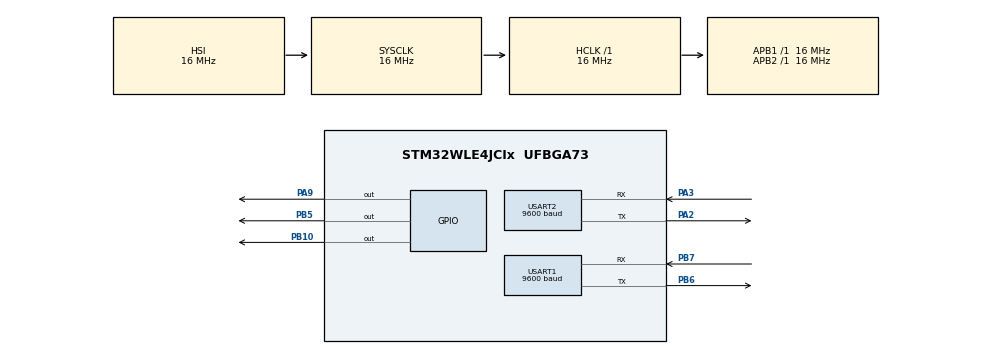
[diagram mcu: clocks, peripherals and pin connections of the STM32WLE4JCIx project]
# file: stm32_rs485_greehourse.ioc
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Mcu.Family=STM32WL
Mcu.Name=STM32WLE4JCIx
Mcu.Package=UFBGA73
NVIC.PriorityGroup=NVIC_PRIORITYGROUP_4
NVIC.USART1_IRQn=true\:0\:0\:false\:false\:true\:true\:true\:true
NVIC.USART2_IRQn=true\:0\:0\:false\:false\:true\:true\:true\:true
PA13.Mode=Serial_Wire
PA13.Signal=DEBUG_JTMS-SWDIO
PA14.Mode=Serial_Wire
PA14.Signal=DEBUG_JTCK-SWCLK
PA2.Mode=Asynchronous
PA2.Signal=USART2_TX
PA3.Mode=Asynchronous
PA3.Signal=USART2_RX
PA9.PinState=GPIO_PIN_SET
PA9.Signal=GPIO_Output
PB10.PinState=GPIO_PIN_SET
PB10.Signal=GPIO_Output
PB5.Signal=GPIO_Output
PB6.Mode=Asynchronous
PB6.Signal=USART1_TX
PB7.Mode=Asynchronous
PB7.Signal=USART1_RX
ProjectManager.HeapSize=0x200
ProjectManager.StackSize=0x400
ProjectManager.TargetToolchain=STM32CubeIDE
RCC.AHBFreq_Value=16000000
RCC.APB1Freq_Value=16000000
RCC.APB1TimFreq_Value=16000000
RCC.APB2Freq_Value=16000000
RCC.APB2TimFreq_Value=16000000
RCC.APB3Freq_Value=16000000
RCC.CortexFreq_Value=16000000
RCC.HCLKFreq_Value=16000000
RCC.HSE_VALUE=8000000
RCC.HSI_VALUE=16000000
RCC.LSE_VALUE=32768
RCC.PLLSourceVirtual=RCC_PLLSOURCE_HSI
RCC.SYSCLKFreq_VALUE=16000000
RCC.SYSCLKSource=RCC_SYSCLKSOURCE_HSI
RCC.VCOOutputFreq_Value=128000000
USART1.BaudRate=9600
USART1.VirtualMode-Asynchronous=VM_ASYNC
USART2.BaudRate=9600
USART2.VirtualMode-Asynchronous=VM_ASYNC
board=custom

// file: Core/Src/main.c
/* USER CODE BEGIN Header */
/**
  ******************************************************************************
  * @file           : main.c
  * @brief          : Main program body
  ******************************************************************************
  * @attention
  *
  * Copyright (c) 2025 STMicroelectronics.
  * All rights reserved.
  *
  * This software is licensed under terms that can be found in the LICENSE file
  * in the root directory of this software component.
  * If no LICENSE file comes with this software, it is provided AS-IS.
  *
  ******************************************************************************
  */
/* USER CODE END Header */
#include "main.h"

/* USER CODE BEGIN Includes */
#include <stdio.h>
#include <stdint.h>
/* USER CODE END Includes */

/* USER CODE BEGIN PD */
uint8_t tx_buffer[27] = "Hello, World\n\r";
uint8_t msg[] = "Hello RS485\n\r";
uint8_t rx_buffer[16];
uint8_t modbus_frame[8];
uint8_t UART_RX_AIR_LENGTH = 13;
uint8_t UART_RX_SOIL_LENGTH = 9;
uint8_t UART_RX_LIGHT_LENGTH = 9;
int UART_TIMEOUT = 1000;
int HAL_DELAY_TIME = 1000;
/* USER CODE END PD */

UART_HandleTypeDef huart1;
UART_HandleTypeDef huart2;

void SystemClock_Config(void);
static void MX_GPIO_Init(void);
static void MX_USART2_UART_Init(void);
static void MX_USART1_UART_Init(void);
/* USER CODE BEGIN PFP */
void Build_Modbus_Request(uint8_t slave_addr, uint16_t start_reg, uint16_t quantity, uint8_t *frame_out);
void RS485_Transmit(uint8_t *data, uint16_t size);
void TempHumi();
void Light();
void SoilTempHumi();
/* USER CODE END PFP */

int main(void)
{

  /* MCU Configuration--------------------------------------------------------*/

  /* Reset of all peripherals, Initializes the Flash interface and the Systick. */
  HAL_Init();

  /* Configure the system clock */
  SystemClock_Config();

  /* Initialize all configured peripherals */
  MX_GPIO_Init();
  MX_USART2_UART_Init();
  MX_USART1_UART_Init();

  /* Infinite loop */
  /* USER CODE BEGIN WHILE */
  while (1)
  {
	  TempHumi();
	  Light();
	  SoilTempHumi();
    /* USER CODE END WHILE */

  }
}

void SystemClock_Config(void)
{
  RCC_OscInitTypeDef RCC_OscInitStruct = {0};
  RCC_ClkInitTypeDef RCC_ClkInitStruct = {0};

  /** Configure the main internal regulator output voltage
  */
  __HAL_PWR_VOLTAGESCALING_CONFIG(PWR_REGULATOR_VOLTAGE_SCALE2);

  /** Initializes the CPU, AHB and APB buses clocks
  */
  RCC_OscInitStruct.OscillatorType = RCC_OSCILLATORTYPE_HSI;
  RCC_OscInitStruct.HSIState = RCC_HSI_ON;
  RCC_OscInitStruct.HSICalibrationValue = RCC_HSICALIBRATION_DEFAULT;
  RCC_OscInitStruct.PLL.PLLState = RCC_PLL_NONE;
  if (HAL_RCC_OscConfig(&RCC_OscInitStruct) != HAL_OK)
  {
    Error_Handler();
  }

  /** Configure the SYSCLKSource, HCLK, PCLK1 and PCLK2 clocks dividers
  */
  RCC_ClkInitStruct.ClockType = RCC_CLOCKTYPE_HCLK3|RCC_CLOCKTYPE_HCLK
                              |RCC_CLOCKTYPE_SYSCLK|RCC_CLOCKTYPE_PCLK1
                              |RCC_CLOCKTYPE_PCLK2;
  RCC_ClkInitStruct.SYSCLKSource = RCC_SYSCLKSOURCE_HSI;
  RCC_ClkInitStruct.AHBCLKDivider = RCC_SYSCLK_DIV1;
  RCC_ClkInitStruct.APB1CLKDivider = RCC_HCLK_DIV1;
  RCC_ClkInitStruct.APB2CLKDivider = RCC_HCLK_DIV1;
  RCC_ClkInitStruct.AHBCLK3Divider = RCC_SYSCLK_DIV1;

  if (HAL_RCC_ClockConfig(&RCC_ClkInitStruct, FLASH_LATENCY_0) != HAL_OK)
  {
    Error_Handler();
  }
}

static void MX_USART1_UART_Init(void)
{

  huart1.Instance = USART1;
  huart1.Init.BaudRate = 9600;
  huart1.Init.WordLength = UART_WORDLENGTH_8B;
  huart1.Init.StopBits = UART_STOPBITS_1;
  huart1.Init.Parity = UART_PARITY_NONE;
  huart1.Init.Mode = UART_MODE_TX_RX;
  huart1.Init.HwFlowCtl = UART_HWCONTROL_NONE;
  huart1.Init.OverSampling = UART_OVERSAMPLING_16;
  huart1.Init.OneBitSampling = UART_ONE_BIT_SAMPLE_DISABLE;
  huart1.Init.ClockPrescaler = UART_PRESCALER_DIV1;
  huart1.AdvancedInit.AdvFeatureInit = UART_ADVFEATURE_NO_INIT;
  if (HAL_UART_Init(&huart1) != HAL_OK)
  {
    Error_Handler();
  }
  if (HAL_UARTEx_SetTxFifoThreshold(&huart1, UART_TXFIFO_THRESHOLD_1_8) != HAL_OK)
  {
    Error_Handler();
  }
  if (HAL_UARTEx_SetRxFifoThreshold(&huart1, UART_RXFIFO_THRESHOLD_1_8) != HAL_OK)
  {
    Error_Handler();
  }
  if (HAL_UARTEx_DisableFifoMode(&huart1) != HAL_OK)
  {
    Error_Handler();
  }

}

static void MX_USART2_UART_Init(void)
{

  huart2.Instance = USART2;
  huart2.Init.BaudRate = 9600;
  huart2.Init.WordLength = UART_WORDLENGTH_8B;
  huart2.Init.StopBits = UART_STOPBITS_1;
  huart2.Init.Parity = UART_PARITY_NONE;
  huart2.Init.Mode = UART_MODE_TX_RX;
  huart2.Init.HwFlowCtl = UART_HWCONTROL_NONE;
  huart2.Init.OverSampling = UART_OVERSAMPLING_16;
  huart2.Init.OneBitSampling = UART_ONE_BIT_SAMPLE_DISABLE;
  huart2.Init.ClockPrescaler = UART_PRESCALER_DIV1;
  huart2.AdvancedInit.AdvFeatureInit = UART_ADVFEATURE_NO_INIT;
  if (HAL_UART_Init(&huart2) != HAL_OK)
  {
    Error_Handler();
  }
  if (HAL_UARTEx_SetTxFifoThreshold(&huart2, UART_TXFIFO_THRESHOLD_1_8) != HAL_OK)
  {
    Error_Handler();
  }
  if (HAL_UARTEx_SetRxFifoThreshold(&huart2, UART_RXFIFO_THRESHOLD_1_8) != HAL_OK)
  {
    Error_Handler();
  }
  if (HAL_UARTEx_DisableFifoMode(&huart2) != HAL_OK)
  {
    Error_Handler();
  }

}

static void MX_GPIO_Init(void)
{
  GPIO_InitTypeDef GPIO_InitStruct = {0};

  /* GPIO Ports Clock Enable */
  __HAL_RCC_GPIOA_CLK_ENABLE();
  __HAL_RCC_GPIOB_CLK_ENABLE();

  /*Configure GPIO pin Output Level */
  HAL_GPIO_WritePin(GPIOB, GPIO_PIN_5, GPIO_PIN_RESET);

  /*Configure GPIO pin Output Level */
  HAL_GPIO_WritePin(GPIOA, GPIO_PIN_9, GPIO_PIN_SET);

  /*Configure GPIO pin Output Level */
  HAL_GPIO_WritePin(GPIOB, GPIO_PIN_10, GPIO_PIN_SET);

  /*Configure GPIO pins : PB5 PB10 */
  GPIO_InitStruct.Pin = GPIO_PIN_5|GPIO_PIN_10;
  GPIO_InitStruct.Mode = GPIO_MODE_OUTPUT_PP;
  GPIO_InitStruct.Pull = GPIO_NOPULL;
  GPIO_InitStruct.Speed = GPIO_SPEED_FREQ_LOW;
  HAL_GPIO_Init(GPIOB, &GPIO_InitStruct);

  /*Configure GPIO pin : PA9 */
  GPIO_InitStruct.Pin = GPIO_PIN_9;
  GPIO_InitStruct.Mode = GPIO_MODE_OUTPUT_PP;
  GPIO_InitStruct.Pull = GPIO_NOPULL;
  GPIO_InitStruct.Speed = GPIO_SPEED_FREQ_LOW;
  HAL_GPIO_Init(GPIOA, &GPIO_InitStruct);

}

/* USER CODE BEGIN 4 */
int _write(int file, char *ptr, int len) {
    for (int i = 0; i < len; i++) {
        ITM_SendChar((*ptr++));
    }
    return len;
}

uint16_t Modbus_CRC16(uint8_t *buf, uint8_t len) {
    uint16_t crc = 0xFFFF;

    for (uint8_t pos = 0; pos < len; pos++) {
        crc ^= (uint16_t)buf[pos];
        for (int i = 0; i < 8; i++) {
            if (crc & 0x0001) {
                crc >>= 1;
                crc ^= 0xA001;
            } else {
                crc >>= 1;
            }
        }
    }

    return crc;
}

void Build_Modbus_Request(uint8_t slave_addr, uint16_t start_reg, uint16_t quantity, uint8_t *frame_out) {
    frame_out[0] = slave_addr;                // AA
    frame_out[1] = 0x03;                      // Function Code

    frame_out[2] = (start_reg >> 8) & 0xFF;   // RRRR (high byte)
    frame_out[3] = start_reg & 0xFF;          // RRRR (low byte)

    frame_out[4] = (quantity >> 8) & 0xFF;    // NNNN (high byte)
    frame_out[5] = quantity & 0xFF;           // NNNN (low byte)

    uint16_t crc = Modbus_CRC16(frame_out, 6);  // คำนวณ CRC จาก 6 byte แรก

    frame_out[6] = crc & 0xFF;               // CRC Low byte
    frame_out[7] = (crc >> 8) & 0xFF;        // CRC High byte
}

void Decode_TempHumi(uint8_t *rx_buf) {
    int16_t temp_raw = (rx_buf[3] << 8) | rx_buf[4];
    uint16_t humi_raw = (rx_buf[5] << 8) | rx_buf[6];
    int16_t dew_raw = (rx_buf[7] << 8) | rx_buf[8];
    uint16_t press_raw = (rx_buf[9] << 8) | rx_buf[10];

    float temp_c = temp_raw / 100.0f;  // °C
    float humidity = humi_raw / 100.0f;  // %
    float dewpoint_c = dew_raw / 100.0f;  // °C
    float pressure_hpa = press_raw / 10.0f;  // hPa

    printf("Temperature: %.2f C\r\n", temp_c);
    printf("Humidity: %.2f %%\r\n", humidity);
    printf("Dew Point: %.2f C\r\n", dewpoint_c);
    printf("Pressure: %.1f hPa\r\n", pressure_hpa);
}

void Decode_Light(uint8_t *rx_buf) {
    // อ่านค่า High และ Low 16 bits ของ Illuminance
    uint16_t lux_high = (rx_buf[3] << 8) | rx_buf[4];  // High 16 bits
    uint16_t lux_low  = (rx_buf[5] << 8) | rx_buf[6];  // Low 16 bits

    // รวม High และ Low 16 bits เป็น 32-bit Illuminance
    uint32_t lux = ((uint32_t)lux_high << 16) | lux_low;

    // แสดงผล
    printf("Illuminance: %lu lux\r\n", lux);
}

void Decode_Soil(uint8_t *rx_buf) {
    // ดึง Humidity (unsigned)
    uint16_t humi_raw = (rx_buf[3] << 8) | rx_buf[4];
    // ดึง Temperature (signed)
    int16_t temp_raw = (rx_buf[5] << 8) | rx_buf[6];

    // แปลงหน่วย
    float humidity = humi_raw / 10.0f;   // %RH
    float temperature = temp_raw / 10.0f; // °C

    // แสดงผล
    printf("Humidity: %.1f %%RH\r\n", humidity);
    printf("Temperature: %.1f C\r\n", temperature);
}

void TempHumi() {
	Build_Modbus_Request(0x01, 0x0000, 0x0004, modbus_frame);
	HAL_UART_Transmit(&huart2, modbus_frame, 8, UART_TIMEOUT);
//	HAL_Delay(10);  // wait for sensor to respond

	if (HAL_UART_Receive(&huart2, rx_buffer, UART_RX_AIR_LENGTH, UART_TIMEOUT) == HAL_OK) {
		printf("TEMPHUMI: ");
		for (int i = 0; i < UART_RX_AIR_LENGTH; i++) {
		    printf("%d ", rx_buffer[i]);
		}
	    printf("\r\n");

	    Decode_TempHumi(rx_buffer);
	} else {
	    printf("Receive failed\r\n");
	}

	HAL_Delay(HAL_DELAY_TIME);
}

void Light() {
	Build_Modbus_Request(0x02, 0x0000, 0x0002, modbus_frame);
	HAL_UART_Transmit(&huart2, modbus_frame, 8, UART_TIMEOUT);

//	HAL_Delay(10);  // wait for sensor to respond

	if (HAL_UART_Receive(&huart2, rx_buffer, UART_RX_LIGHT_LENGTH, UART_TIMEOUT) == HAL_OK) {
		printf("LIGHT: ");
		for (int i = 0; i < UART_RX_LIGHT_LENGTH; i++) {
		    printf("%d ", rx_buffer[i]);
		}
	    printf("\r\n");

	    Decode_Light(rx_buffer);
	} else {
	    printf("Receive failed\r\n");
	}

	HAL_Delay(HAL_DELAY_TIME);
}

void SoilTempHumi() {
	Build_Modbus_Request(0x03, 0x0000, 0x0002, modbus_frame);
	HAL_UART_Transmit(&huart2, modbus_frame, 8, UART_TIMEOUT);

//	HAL_Delay(10);  // wait for sensor to respond
//	HAL_UART_Receive(&huart2, rx_buffer, UART_RX_SOIL_LENGTH, UART_TIMEOUT);

	if (HAL_UART_Receive(&huart2, rx_buffer, UART_RX_SOIL_LENGTH, UART_TIMEOUT) == HAL_OK) {
		printf("SOIL: ");
		for (int i = 0; i < UART_RX_SOIL_LENGTH; i++) {
		    printf("%d ", rx_buffer[i]);
		}
	    printf("\r\n");

	    Decode_Soil(rx_buffer);
	} else {
	    printf("Receive failed\r\n");
	}

	HAL_Delay(HAL_DELAY_TIME);
}
/* USER CODE END 4 */

void Error_Handler(void)
{
  __disable_irq();
  while (1)
  {
  }
}
